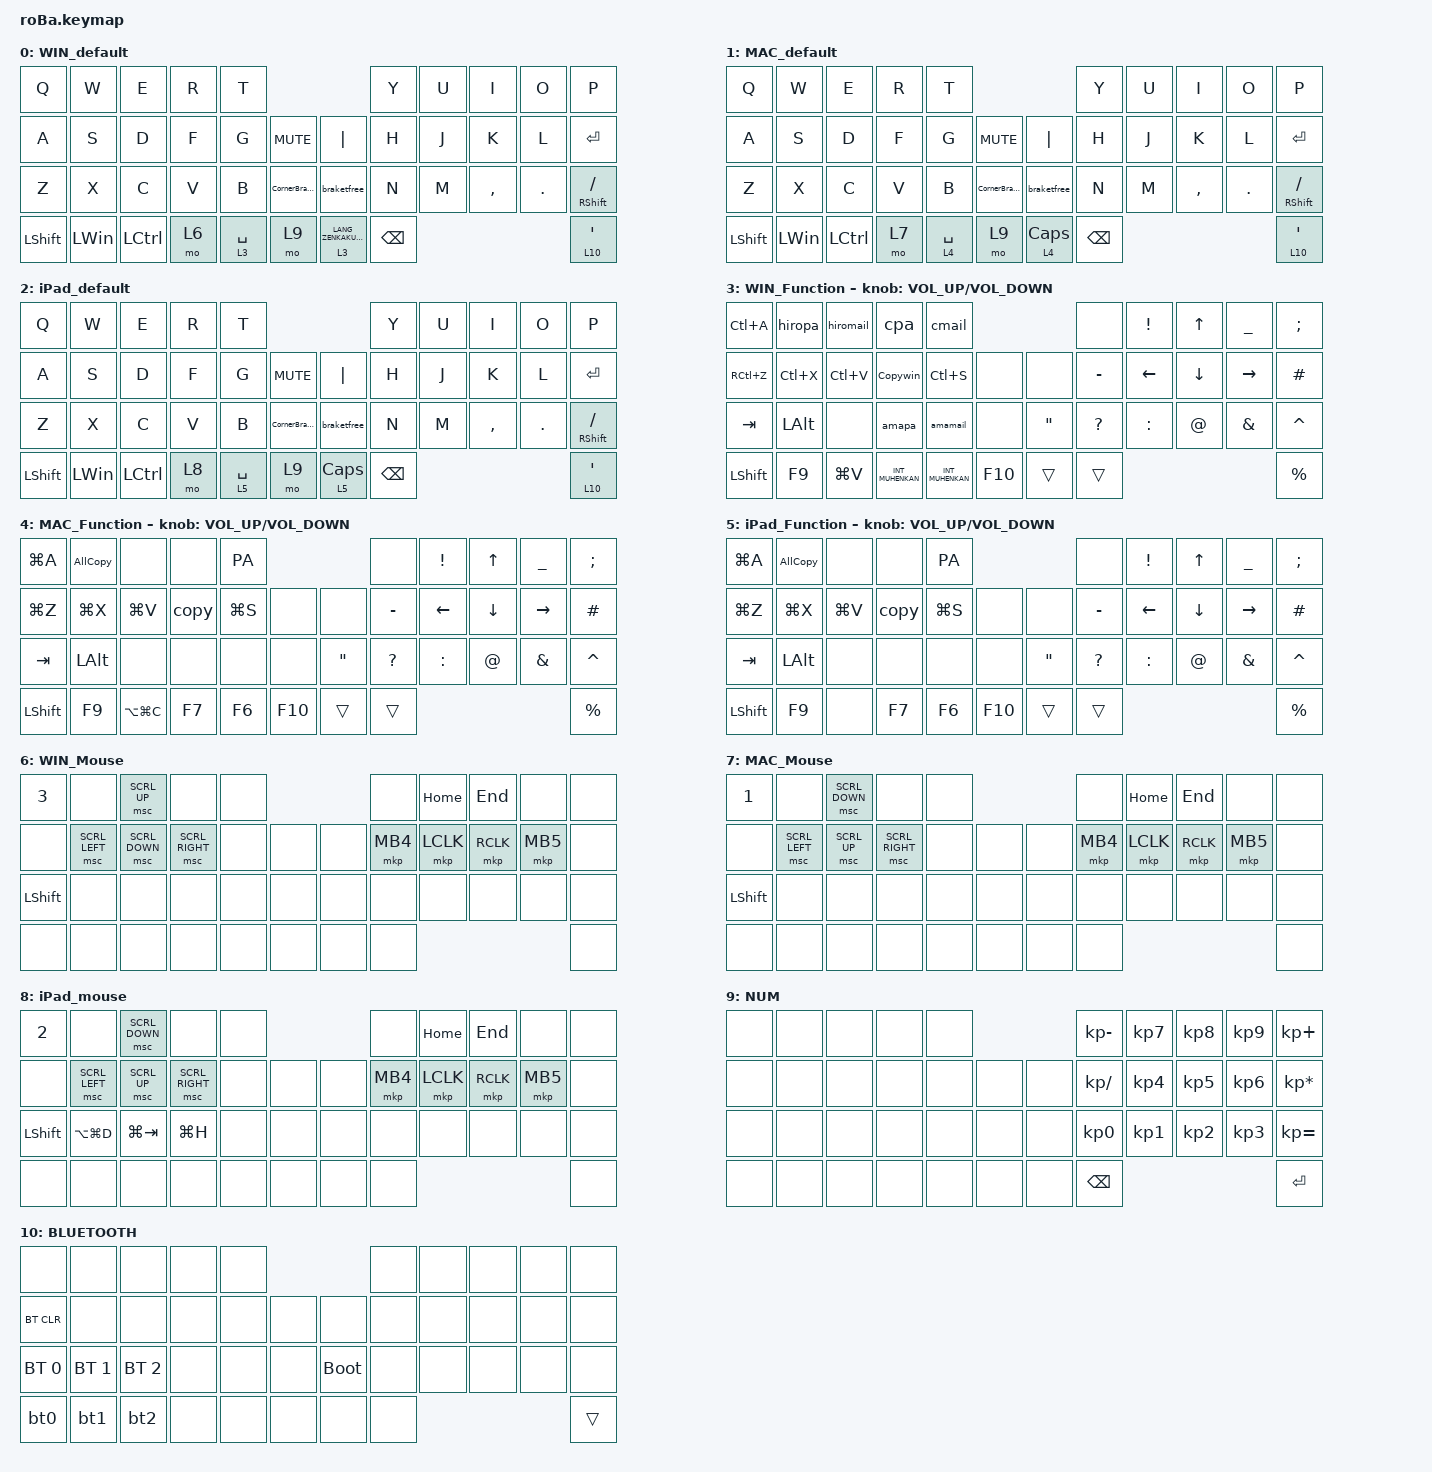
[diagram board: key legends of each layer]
#include <behaviors.dtsi>
#include <dt-bindings/zmk/bt.h>
#include <dt-bindings/zmk/keys.h>
#include <dt-bindings/zmk/pointing.h>

#define MOUSE 4
#define SCROLL 5
#define NUM 6

/ {
    combos {
        compatible = "zmk,combos";

        tab {
            bindings = <&kp TAB>;
            key-positions = <11 12>;
        };

        shift_tab {
            bindings = <&kp LS(TAB)>;
            key-positions = <12 13>;
        };

        eq {
            bindings = <&kp EQUAL>;
            key-positions = <24 25>;
        };
    };

    macros {
        CornerBrackets: CornerBrackets {
            compatible = "zmk,behavior-macro";
            #binding-cells = <0>;
            bindings = <&kp LEFT_BRACKET &kp RIGHT_BRACKET &kp ENTER &kp LEFT_ARROW>;
            label = "CORNERBRACKETS";
        };

        copy: copy {
            compatible = "zmk,behavior-macro";
            #binding-cells = <0>;
            bindings = <&kp LG(C) &kp RIGHT_ARROW>;
            label = "COPY";
        };

        AllCopy: AllCopy {
            compatible = "zmk,behavior-macro";
            #binding-cells = <0>;
            bindings = <&kp LG(A) &kp LG(C) &kp RIGHT_ARROW>;
            label = "ALLCOPY";
        };

        Copywin: Copywin {
            compatible = "zmk,behavior-macro";
            #binding-cells = <0>;
            bindings = <&kp LC(C) &kp RIGHT_ARROW>;
            label = "COPYWIN";
        };

        braketfree: braketfree {
            compatible = "zmk,behavior-macro";
            #binding-cells = <0>;
            bindings = <&kp LEFT_PARENTHESIS &kp RIGHT_PARENTHESIS>;
            label = "BRAKETFREE";
        };

        PA: PA {
            compatible = "zmk,behavior-macro";
            #binding-cells = <0>;
            bindings = <&kp KP_NUMBER_1 &kp KP_NUMBER_2 &kp KP_NUMBER_5 &kp KP_NUMBER_6 &kp KP_NUMBER_5 &kp KP_NUMBER_6 &kp ENTER>;
            label = "PA";
        };

        bt0: bt0 {
            compatible = "zmk,behavior-macro";
            #binding-cells = <0>;
            bindings =
                <&tog_off 1 &tog_off 2 &tog_off 0>,
                <&macro_wait_time 200>,
                <&bt BT_SEL 0>,
                <&macro_wait_time 500>,
                <&tog 1>;

            label = "BT0";
        };

        bt1: bt1 {
            compatible = "zmk,behavior-macro";
            #binding-cells = <0>;
            bindings =
                <&tog_off 1 &tog_off 2 &tog_off 0>,
                <&macro_wait_time 200>,
                <&bt BT_SEL 1>,
                <&macro_wait_time 500>,
                <&tog 2>;

            label = "BT1";
        };

        bt2: bt2 {
            compatible = "zmk,behavior-macro";
            #binding-cells = <0>;
            bindings =
                <&tog_off 1 &tog_off 2 &tog_off 0>,
                <&macro_wait_time 200>,
                <&bt BT_SEL 2>,
                <&macro_wait_time 500>,
                <&tog 0>;

            label = "BT2";
        };

        cmail: cmail {
            compatible = "zmk,behavior-macro";
            #binding-cells = <0>;
            bindings = <&kp H &kp I &kp R &kp O &kp Y &kp U &kp K &kp I &kp DOT &kp S &kp A &kp T &kp O &kp AT &kp C &kp H &kp I &kp B &kp A &kp MINUS &kp R &kp E &kp H &kp A &kp DOT &kp J &kp P>;
            label = "CMAIL";
        };

        cpa: cpa {
            compatible = "zmk,behavior-macro";
            #binding-cells = <0>;
            bindings = <&kp LS(H) &kp S &kp N1 &kp N2 &kp N5 &kp N6 &kp N5 &kp N6>;
            label = "CPA";
        };

        amamail: amamail {
            compatible = "zmk,behavior-macro";
            #binding-cells = <0>;
            bindings = <&kp A &kp M &kp A &kp Y &kp A &kp G &kp O &kp R &kp O &kp N5 &kp N6 &kp AT &kp G &kp M &kp A &kp I &kp L &kp DOT &kp C &kp O &kp M>;
            label = "AMAMAIL";
        };

        amapa: ama {
            compatible = "zmk,behavior-macro";
            #binding-cells = <0>;
            bindings = <&kp Z &kp S &kp E &kp D &kp C &kp V &kp N1 &kp N2>;
            label = "AMA";
        };

        hiromail: hiromail {
            compatible = "zmk,behavior-macro";
            #binding-cells = <0>;
            bindings = <&kp H &kp S &kp N0 &kp N5 &kp N0 &kp N6 &kp N1 &kp N9 &kp N8 &kp N6 &kp AT &kp G &kp M &kp A &kp I &kp L &kp DOT &kp C &kp O &kp M>;
            label = "HIROMAIL";
        };

        hiropa: hiropa {
            compatible = "zmk,behavior-macro";
            #binding-cells = <0>;
            bindings = <&kp LS(Z) &kp X &kp C &kp V &kp G &kp N &kp H &kp N2 &kp N5 &kp N8>;
            label = "HIROPA";
        };
    };

    behaviors {
        tog_on: toggle_layer_on_only {
            compatible = "zmk,behavior-toggle-layer";
            #binding-cells = <1>;
            display-name = "Toggle Layer On";
            toggle-mode = "on";
        };

        tog_off: toggle_layer_off_only {
            compatible = "zmk,behavior-toggle-layer";
            #binding-cells = <1>;
            display-name = "Toggle Layer Off";
            toggle-mode = "off";
        };
    };

    keymap {
        compatible = "zmk,keymap";

        WIN_default {
            bindings = <
&kp Q           &kp W         &kp E             &kp R  &kp T                                                        &kp Y          &kp U  &kp I      &kp O    &kp P
&kp A           &kp S         &kp D             &kp F  &kp G        &kp K_MUTE           &kp PIPE                   &kp H          &kp J  &kp K      &kp L    &kp ENTER
&kp Z           &kp X         &kp C             &kp V  &kp B        &CornerBrackets      &braketfree                &kp N          &kp M  &kp COMMA  &kp DOT  &mt RIGHT_SHIFT SLASH
&kp LEFT_SHIFT  &kp LEFT_WIN  &kp LEFT_CONTROL  &mo 6  &lt 3 SPACE  &mo 9                &lt 3 LANG_ZENKAKUHANKAKU  &kp BACKSPACE                             &lt 10 APOS
            >;
        };

        MAC_default {
            bindings = <
&kp Q           &kp W         &kp E             &kp R  &kp T                                             &kp Y          &kp U  &kp I      &kp O    &kp P
&kp A           &kp S         &kp D             &kp F  &kp G        &kp K_MUTE           &kp PIPE        &kp H          &kp J  &kp K      &kp L    &kp ENTER
&kp Z           &kp X         &kp C             &kp V  &kp B        &CornerBrackets      &braketfree     &kp N          &kp M  &kp COMMA  &kp DOT  &mt RIGHT_SHIFT SLASH
&kp LEFT_SHIFT  &kp LEFT_WIN  &kp LEFT_CONTROL  &mo 7  &lt 4 SPACE  &mo 9                &lt 4 CAPSLOCK  &kp BACKSPACE                             &lt 10 APOS
            >;
        };

        iPad_default {
            bindings = <
&kp Q           &kp W         &kp E             &kp R  &kp T                                             &kp Y          &kp U  &kp I      &kp O    &kp P
&kp A           &kp S         &kp D             &kp F  &kp G        &kp K_MUTE           &kp PIPE        &kp H          &kp J  &kp K      &kp L    &kp ENTER
&kp Z           &kp X         &kp C             &kp V  &kp B        &CornerBrackets      &braketfree     &kp N          &kp M  &kp COMMA  &kp DOT  &mt RIGHT_SHIFT SLASH
&kp LEFT_SHIFT  &kp LEFT_WIN  &kp LEFT_CONTROL  &mo 8  &lt 5 SPACE  &mo 9                &lt 5 CAPSLOCK  &kp BACKSPACE                             &lt 10 APOS
            >;
        };

        WIN_Function {
            bindings = <
&kp LC(A)       &hiropa       &hiromail  &cpa              &cmail                                            &none         &kp EXCLAMATION  &kp UP_ARROW    &kp UNDER        &kp SEMICOLON
&kp RC(Z)       &kp LC(X)     &kp LC(V)  &Copywin          &kp LC(S)         &none        &none              &kp MINUS     &kp LEFT_ARROW   &kp DOWN_ARROW  &kp RIGHT_ARROW  &kp HASH
&kp TAB         &kp LEFT_ALT  &none      &amapa            &amamail          &none        &kp DOUBLE_QUOTES  &kp QUESTION  &kp COLON        &kp AT_SIGN     &kp AMPERSAND    &kp CARET
&kp LEFT_SHIFT  &kp F9        &kp LG(V)  &kp INT_MUHENKAN  &kp INT_MUHENKAN  &kp F10      &trans             &trans                                                          &kp PRCNT
            >;

            sensor-bindings = <&inc_dec_kp C_VOLUME_UP C_VOLUME_DOWN>;
        };

        MAC_Function {
            bindings = <
&kp LG(A)       &AllCopy      &none          &none   &PA                                        &none         &kp EXCLAMATION  &kp UP_ARROW    &kp UNDER        &kp SEMICOLON
&kp LG(Z)       &kp LG(X)     &kp LG(V)      &copy   &kp LG(S)  &none        &none              &kp MINUS     &kp LEFT_ARROW   &kp DOWN_ARROW  &kp RIGHT_ARROW  &kp HASH
&kp TAB         &kp LEFT_ALT  &none          &none   &none      &none        &kp DOUBLE_QUOTES  &kp QUESTION  &kp COLON        &kp AT_SIGN     &kp AMPERSAND    &kp CARET
&kp LEFT_SHIFT  &kp F9        &kp LA(LG(C))  &kp F7  &kp F6     &kp F10      &trans             &trans                                                          &kp PRCNT
            >;

            sensor-bindings = <&inc_dec_kp C_VOLUME_UP C_VOLUME_DOWN>;
        };

        iPad_Function {
            bindings = <
&kp LG(A)       &AllCopy      &none      &none   &PA                                        &none         &kp EXCLAMATION  &kp UP_ARROW    &kp UNDER        &kp SEMICOLON
&kp LG(Z)       &kp LG(X)     &kp LG(V)  &copy   &kp LG(S)  &none        &none              &kp MINUS     &kp LEFT_ARROW   &kp DOWN_ARROW  &kp RIGHT_ARROW  &kp HASH
&kp TAB         &kp LEFT_ALT  &none      &none   &none      &none        &kp DOUBLE_QUOTES  &kp QUESTION  &kp COLON        &kp AT_SIGN     &kp AMPERSAND    &kp CARET
&kp LEFT_SHIFT  &kp F9        &none      &kp F7  &kp F6     &kp F10      &trans             &trans                                                          &kp PRCNT
            >;

            sensor-bindings = <&inc_dec_kp C_VOLUME_UP C_VOLUME_DOWN>;
        };

        WIN_Mouse {
            bindings = <
&kp NUMBER_3    &none           &msc SCRL_UP    &none            &none                    &none     &kp HOME   &kp END    &none     &none
&none           &msc SCRL_LEFT  &msc SCRL_DOWN  &msc SCRL_RIGHT  &none  &none      &none  &mkp MB4  &mkp LCLK  &mkp RCLK  &mkp MB5  &none
&kp LEFT_SHIFT  &none           &none           &none            &none  &none      &none  &none     &none      &none      &none     &none
&none           &none           &none           &none            &none  &none      &none  &none                                     &none
            >;
        };

        MAC_Mouse {
            bindings = <
&kp NUMBER_1    &none           &msc SCRL_DOWN  &none            &none                    &none     &kp HOME   &kp END    &none     &none
&none           &msc SCRL_LEFT  &msc SCRL_UP    &msc SCRL_RIGHT  &none  &none      &none  &mkp MB4  &mkp LCLK  &mkp RCLK  &mkp MB5  &none
&kp LEFT_SHIFT  &none           &none           &none            &none  &none      &none  &none     &none      &none      &none     &none
&none           &none           &none           &none            &none  &none      &none  &none                                     &none
            >;
        };

        iPad_mouse {
            bindings = <
&kp NUMBER_2    &none           &msc SCRL_DOWN  &none            &none                    &none     &kp HOME   &kp END    &none     &none
&none           &msc SCRL_LEFT  &msc SCRL_UP    &msc SCRL_RIGHT  &none  &none      &none  &mkp MB4  &mkp LCLK  &mkp RCLK  &mkp MB5  &none
&kp LEFT_SHIFT  &kp LA(LG(D))   &kp LG(TAB)     &kp LG(H)        &none  &none      &none  &none     &none      &none      &none     &none
&none           &none           &none           &none            &none  &none      &none  &none                                     &none
            >;
        };

        NUM {
            bindings = <
&none  &none  &none  &none  &none                    &kp KP_MINUS     &kp KP_NUMBER_7  &kp KP_NUMBER_8  &kp KP_NUMBER_9  &kp KP_PLUS
&none  &none  &none  &none  &none  &none      &none  &kp KP_SLASH     &kp KP_NUMBER_4  &kp KP_NUMBER_5  &kp KP_NUMBER_6  &kp KP_ASTERISK
&none  &none  &none  &none  &none  &none      &none  &kp KP_NUMBER_0  &kp KP_NUMBER_1  &kp KP_NUMBER_2  &kp KP_NUMBER_3  &kp KP_EQUAL
&none  &none  &none  &none  &none  &none      &none  &kp BACKSPACE                                                       &kp ENTER
            >;
        };

        BLUETOOTH {
            bindings = <
&none         &none         &none         &none  &none                          &none  &none  &none  &none  &none
&bt BT_CLR    &none         &none         &none  &none  &none      &none        &none  &none  &none  &none  &none
&bt BT_SEL 0  &bt BT_SEL 1  &bt BT_SEL 2  &none  &none  &none      &bootloader  &none  &none  &none  &none  &none
&bt0          &bt1          &bt2          &none  &none  &none      &none        &none                       &trans
            >;
        };
    };
};
